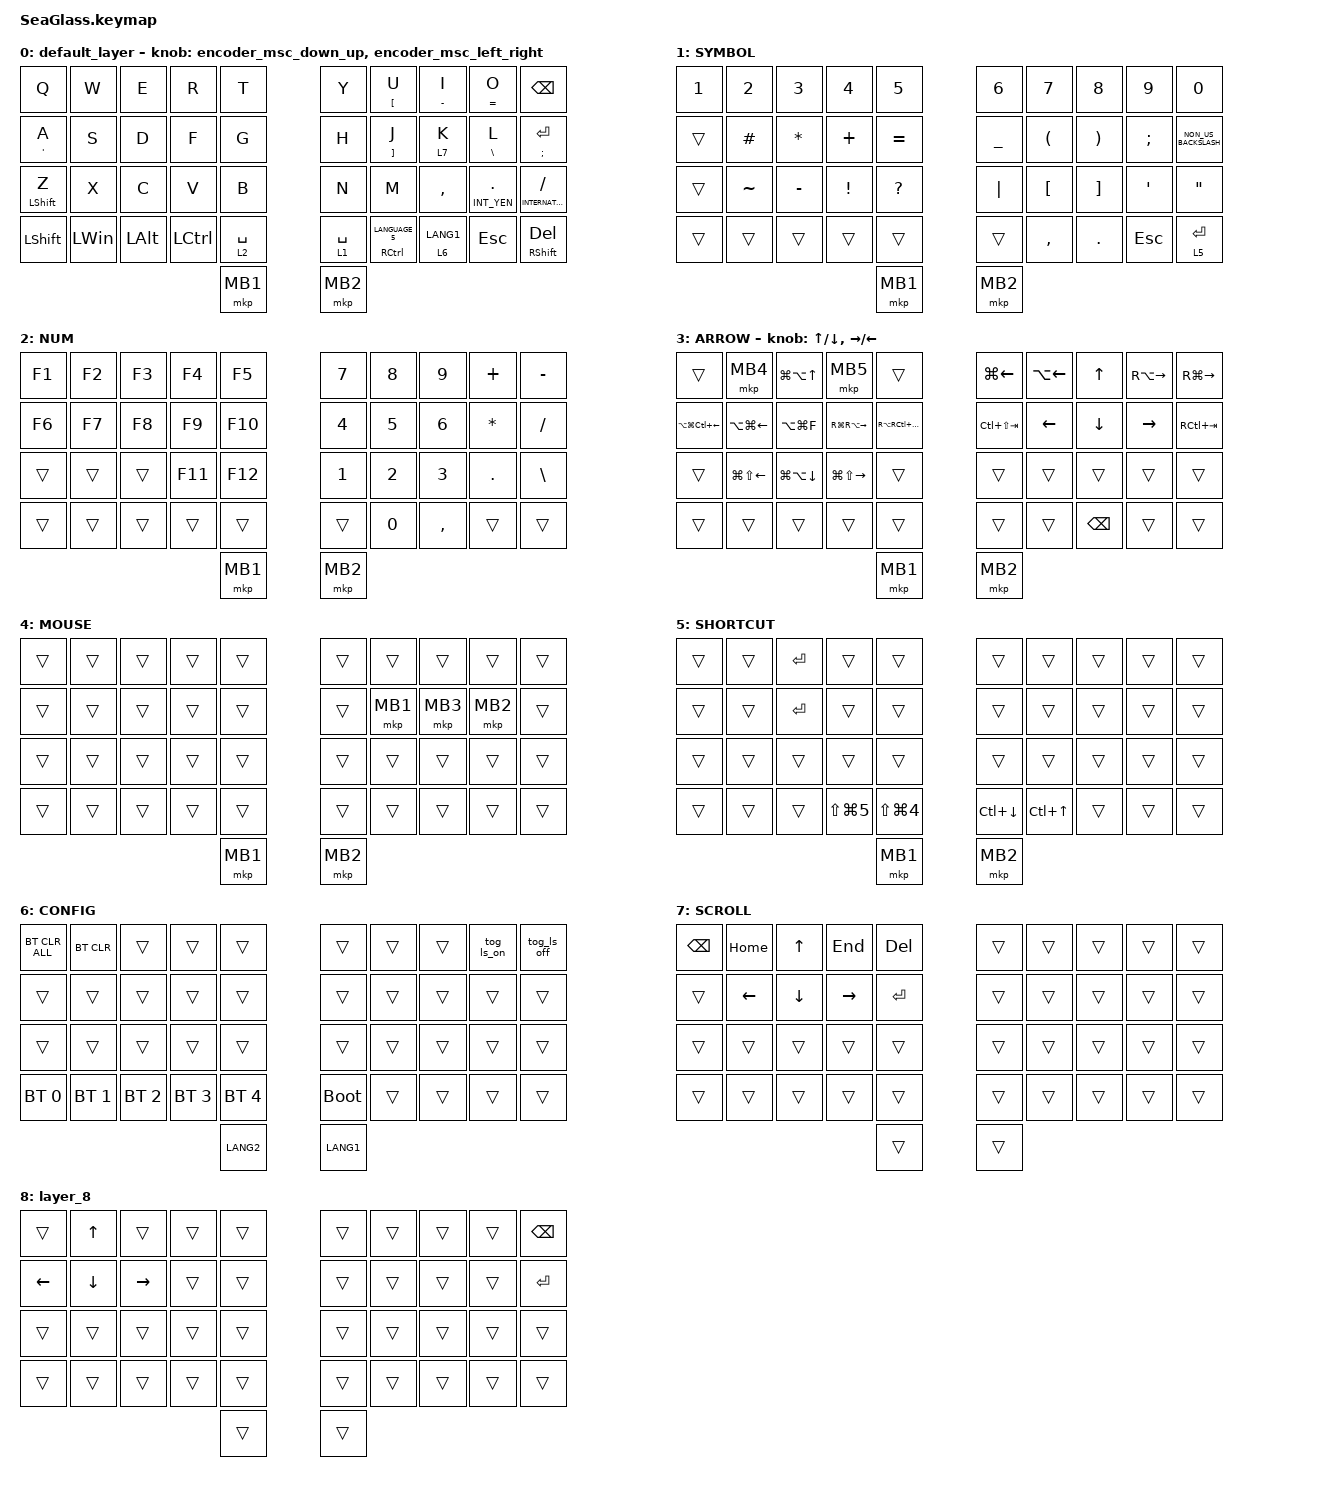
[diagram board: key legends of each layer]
#include <layout_shift.dtsi>
#include <layout_shift_kp_override.dtsi>
#include <behaviors.dtsi>
#include <dt-bindings/zmk/bt.h>
#include <dt-bindings/zmk/keys.h>
#include <dt-bindings/zmk/pointing.h>

#define MOUSE 4
#define SCROLL 5
#define NUM 6
#define ZMK_POINTING_DEFAULT_SCRL_VAL 120

&mt {
    flavor = "balanced";
    tapping-term-ms = <160>;
};

&lt {
    flavor = "tap-preferred";
    tapping-term-ms = <160>;
};

/ {
    combos {
        compatible = "zmk,combos";

        middle-click {
            bindings = <&mkp MB3>;
            key-positions = <40 41>;
        };

        tab {
            bindings = <&kp TAB>;
            key-positions = <10 11>;
        };

        p {
            bindings = <&kp P>;
            key-positions = <8 9>;
        };

        grave {
            bindings = <&kp GRAVE>;
            key-positions = <0 1>;
        };

        z {
            bindings = <&kp Z>;
            key-positions = <20 21>;
        };
    };

    macros {
        to_layer_0: to_layer_0 {
            compatible = "zmk,behavior-macro-one-param";
            #binding-cells = <1>;
            bindings = <&to 0 &macro_param_1to1 &kp MACRO_PLACEHOLDER>;
            label = "TO_LAYER_0";
        };

        kakko: kakko {
            compatible = "zmk,behavior-macro";
            #binding-cells = <0>;
            bindings = <&kp LEFT_PARENTHESIS &kp RIGHT_PARENTHESIS &kp LEFT_ARROW>;
            label = "KAKKO";
        };

        dai_kakkko: daikakkko {
            compatible = "zmk,behavior-macro";
            #binding-cells = <0>;
            bindings = <&kp LEFT_BRACKET &kp RIGHT_BRACKET &kp LEFT_ARROW>;
            label = "DAIKAKKKO";
        };

        nami_kakko: nami_kakko {
            compatible = "zmk,behavior-macro";
            #binding-cells = <0>;
            bindings = <&kp LEFT_BRACE &kp RIGHT_BRACE &kp LEFT_ARROW>;
            label = "NAMI_KAKKO";
        };
    };

    behaviors {
        lt_to_layer_0: lt_to_layer_0 {
            compatible = "zmk,behavior-hold-tap";
            label = "LAYER_TAP_TO_0";
            bindings = <&mo>, <&to_layer_0>;

            #binding-cells = <2>;
            tapping-term-ms = <200>;
        };

        encoder_msc_down_up: encoder_msc_down_up {
            compatible = "zmk,behavior-sensor-rotate";
            label = "ENCODER_MSC_DOWN_UP";
            #sensor-binding-cells = <0>;
            bindings = <&msc SCRL_UP>, <&msc SCRL_DOWN>;

            tap-ms = <20>;
        };

        encoder_msc_left_right: encoder_msc_left_right {
            compatible = "zmk,behavior-sensor-rotate";
            label = "ENCODER_MSC_LEFT_RIGHT";
            #sensor-binding-cells = <0>;
            bindings = <&msc SCRL_LEFT>, <&msc SCRL_RIGHT>;

            tap-ms = <20>;
        };

        mt_default: mt_default {
            compatible = "zmk,behavior-hold-tap";
            #binding-cells = <2>;
            flavor = "balanced";
            tapping-term-ms = <155>;
            bindings = <&kp>, <&kp>;
        };

        k_mt: k_mt {
            compatible = "zmk,behavior-hold-tap";
            #binding-cells = <2>;
            flavor = "balanced";
            tapping-term-ms = <175>;
            bindings = <&kp>, <&kp>;
        };

        at_mt: at_mt {
            compatible = "zmk,behavior-hold-tap";
            #binding-cells = <2>;
            flavor = "balanced";
            tapping-term-ms = <135>;
            bindings = <&kp>, <&kp>;
        };

        o_mt: o_mt {
            compatible = "zmk,behavior-hold-tap";
            #binding-cells = <2>;
            flavor = "balanced";
            tapping-term-ms = <175>;
            bindings = <&kp>, <&kp>;
        };

        a_mt: a_mt {
            compatible = "zmk,behavior-hold-tap";
            #binding-cells = <2>;
            flavor = "balanced";
            tapping-term-ms = <180>;
            bindings = <&kp>, <&kp>;
        };

        space2_lt: space2_lt {
            compatible = "zmk,behavior-hold-tap";
            #binding-cells = <2>;
            flavor = "tap-preferred";
            tapping-term-ms = <185>;
            bindings = <&mo>, <&kp>;
        };
    };

    keymap {
        compatible = "zmk,keymap";

        default_layer {
            bindings = <
&kp Q                 &kp W         &kp E         &kp R      &kp T               &kp Y        &at_mt LEFT_BRACKET U         &mt MINUS I  &o_mt EQUAL O       &kp BACKSPACE
&a_mt SINGLE_QUOTE A  &kp S         &kp D         &kp F      &kp G               &kp H        &k_mt RIGHT_BRACKET J         &lt 7 K      &mt BACKSLASH L     &mt SEMICOLON ENTER
&mt LEFT_SHIFT Z      &kp X         &kp C         &kp V      &kp B               &kp N        &kp M                         &kp COMMA    &mt INT_YEN PERIOD  &mt INTERNATIONAL_1 SLASH
&kp LEFT_SHIFT        &kp LEFT_WIN  &kp LEFT_ALT  &kp LCTRL  &space2_lt 2 SPACE  &lt 1 SPACE  &mt RIGHT_CONTROL LANGUAGE_5  &lt 6 LANG1  &kp ESCAPE          &mt RIGHT_SHIFT DELETE
&mkp MB1              &mkp MB2
            >;

            sensor-bindings = <&encoder_msc_down_up>, <&encoder_msc_left_right>;
        };

        SYMBOL {
            bindings = <
&kp NUMBER_1  &kp NUMBER_2  &kp NUMBER_3  &kp NUMBER_4     &kp NUMBER_5  &kp NUMBER_6    &kp NUMBER_7          &kp NUMBER_8           &kp NUMBER_9  &kp NUMBER_0
&trans        &kp HASH      &kp ASTERISK  &kp PLUS         &kp EQUAL     &kp UNDERSCORE  &kp LEFT_PARENTHESIS  &kp RIGHT_PARENTHESIS  &kp SEMI      &kp NON_US_BACKSLASH
&trans        &kp TILDE     &kp MINUS     &kp EXCLAMATION  &kp QUESTION  &kp PIPE        &kp LBKT              &kp RBKT               &kp SQT       &kp DOUBLE_QUOTES
&trans        &trans        &trans        &trans           &trans        &trans          &kp COMMA             &kp PERIOD             &kp ESC       &lt 5 ENTER
&mkp MB1      &mkp MB2
            >;
        };

        NUM {
            bindings = <
&kp F1    &kp F2    &kp F3  &kp F4   &kp F5   &kp NUMBER_7  &kp NUMBER_8  &kp NUMBER_9  &kp PLUS      &kp MINUS
&kp F6    &kp F7    &kp F8  &kp F9   &kp F10  &kp NUMBER_4  &kp NUMBER_5  &kp NUMBER_6  &kp ASTERISK  &kp SLASH
&trans    &trans    &trans  &kp F11  &kp F12  &kp NUMBER_1  &kp NUMBER_2  &kp NUMBER_3  &kp PERIOD    &kp BACKSLASH
&trans    &trans    &trans  &trans   &trans   &trans        &kp NUMBER_0  &kp COMMA     &trans        &trans
&mkp MB1  &mkp MB2
            >;
        };

        ARROW {
            bindings = <
&trans                      &mkp MB4                &kp LG(LA(UP_ARROW))  &mkp MB5                 &trans                       &kp LG(LEFT_ARROW)  &kp LA(LEFT_ARROW)  &kp UP_ARROW    &kp RA(RIGHT_ARROW)  &kp RG(RIGHT_ARROW)
&kp LA(LG(LC(LEFT_ARROW)))  &kp LA(LG(LEFT_ARROW))  &kp LA(LG(F))         &kp RG(RA(RIGHT_ARROW))  &kp RA(RC(RG(RIGHT_ARROW)))  &kp LC(LS(TAB))     &kp LEFT_ARROW      &kp DOWN_ARROW  &kp RIGHT_ARROW      &kp RC(TAB)
&trans                      &kp LG(LS(LEFT_ARROW))  &kp LG(LA(DOWN))      &kp LG(LS(RIGHT_ARROW))  &trans                       &trans              &trans              &trans          &trans               &trans
&trans                      &trans                  &trans                &trans                   &trans                       &trans              &trans              &kp BACKSPACE   &trans               &trans
&mkp MB1                    &mkp MB2
            >;

            sensor-bindings =
                <&inc_dec_kp UP_ARROW DOWN_ARROW>,
                <&inc_dec_kp RIGHT_ARROW LEFT_ARROW>;
        };

        MOUSE {
            bindings = <
&trans    &trans    &trans  &trans  &trans  &trans  &trans    &trans    &trans    &trans
&trans    &trans    &trans  &trans  &trans  &trans  &mkp MB1  &mkp MB3  &mkp MB2  &trans
&trans    &trans    &trans  &trans  &trans  &trans  &trans    &trans    &trans    &trans
&trans    &trans    &trans  &trans  &trans  &trans  &trans    &trans    &trans    &trans
&mkp MB1  &mkp MB2
            >;
        };

        SHORTCUT {
            bindings = <
&trans    &trans    &kp ENTER  &trans          &trans          &trans              &trans            &trans  &trans  &trans
&trans    &trans    &kp ENTER  &trans          &trans          &trans              &trans            &trans  &trans  &trans
&trans    &trans    &trans     &trans          &trans          &trans              &trans            &trans  &trans  &trans
&trans    &trans    &trans     &kp LS(LG(N5))  &kp LS(LG(N4))  &kp LC(DOWN_ARROW)  &kp LC(UP_ARROW)  &trans  &trans  &trans
&mkp MB1  &mkp MB2
            >;
        };

        CONFIG {
            bindings = <
&bt BT_CLR_ALL  &bt BT_CLR    &trans        &trans        &trans        &trans       &trans  &trans  &tog_ls_on  &tog_ls_off
&trans          &trans        &trans        &trans        &trans        &trans       &trans  &trans  &trans      &trans
&trans          &trans        &trans        &trans        &trans        &trans       &trans  &trans  &trans      &trans
&bt BT_SEL 0    &bt BT_SEL 1  &bt BT_SEL 2  &bt BT_SEL 3  &bt BT_SEL 4  &bootloader  &trans  &trans  &trans      &trans
&kp LANG2       &kp LANG1
            >;
        };

        SCROLL {
            bindings = <
&kp BACKSPACE  &kp HOME  &kp UP_ARROW  &kp END    &kp DELETE  &trans  &trans  &trans  &trans  &trans
&trans         &kp LEFT  &kp DOWN      &kp RIGHT  &kp ENTER   &trans  &trans  &trans  &trans  &trans
&trans         &trans    &trans        &trans     &trans      &trans  &trans  &trans  &trans  &trans
&trans         &trans    &trans        &trans     &trans      &trans  &trans  &trans  &trans  &trans
&trans         &trans
            >;
        };

        layer_8 {
            bindings = <
&trans    &kp UP_ARROW    &trans           &trans  &trans  &trans  &trans  &trans  &trans  &kp BACKSPACE
&kp LEFT  &kp DOWN_ARROW  &kp RIGHT_ARROW  &trans  &trans  &trans  &trans  &trans  &trans  &kp ENTER
&trans    &trans          &trans           &trans  &trans  &trans  &trans  &trans  &trans  &trans
&trans    &trans          &trans           &trans  &trans  &trans  &trans  &trans  &trans  &trans
&trans    &trans
            >;
        };
    };
};
